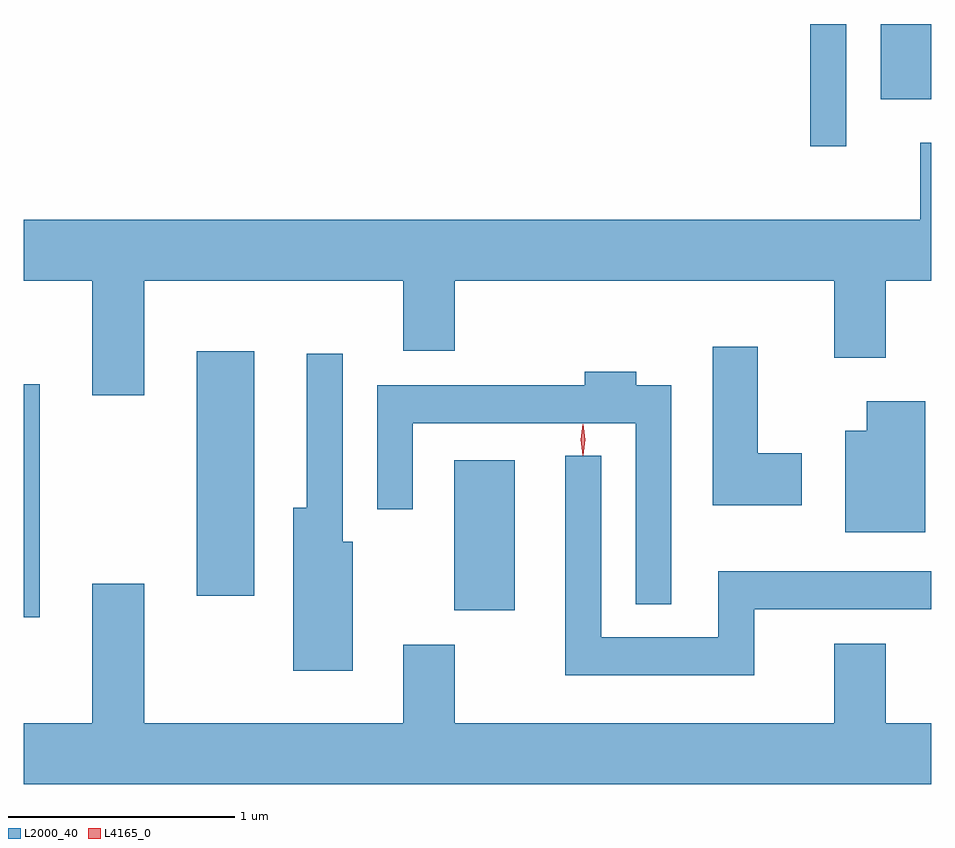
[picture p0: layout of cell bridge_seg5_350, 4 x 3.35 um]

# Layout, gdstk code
import gdstk
lib = gdstk.Library(unit=1e-6, precision=1e-09)
def R(c, l, rs):  # rectangles x0, y0, x1, y1
    for r in rs: c.add(gdstk.rectangle(r[:2], r[2:], *l))
def P(c, l, *ps):  # polygons
    for p in ps: c.add(gdstk.Polygon(p, *l))
L2000_40 = (2000, 40)
L4165_0 = (4165, 0)

bridge_seg5_350 = lib.new_cell('bridge_seg5_350')
R(bridge_seg5_350, L2000_40, [(540.079,1515.251,540.149,1516.279), (541.976,1515.281,542.244,1515.944), (540.841,1515.346,541.094,1516.424), (543.546,1517.328,543.704,1517.867), (543.856,1517.536,544.079,1517.867)])
P(bridge_seg5_350, L2000_40, [(540.609,1516.736),(541.751,1516.736),(541.751,1516.426),(541.979,1516.426),(541.979,1516.736),(543.651,1516.736),(543.651,1516.396),(543.879,1516.396),(543.879,1516.736),(544.079,1516.736),(544.079,1517.344),(544.031,1517.344),(544.031,1517.004),(540.079,1517.004),(540.079,1516.736),(540.381,1516.736),(540.381,1516.231),(540.609,1516.231)],
  [(543.509,1515.974),(543.314,1515.974),(543.314,1516.444),(543.116,1516.444),(543.116,1515.746),(543.509,1515.746)],
  [(541.529,1515.584),(541.484,1515.584),(541.484,1516.413),(541.326,1516.413),(541.326,1515.734),(541.266,1515.734),(541.266,1515.016),(541.529,1515.016)],
  [(542.934,1516.274),(542.779,1516.274),(542.779,1516.334),(542.551,1516.334),(542.551,1516.274),(541.636,1516.274),(541.636,1515.728),(541.794,1515.728),(541.794,1516.106),(542.776,1516.106),(542.776,1515.308),(542.934,1515.308)],
  [(544.054,1516.204),(543.796,1516.204),(543.796,1516.074),(543.701,1516.074),(543.701,1515.626),(544.054,1515.626)],
  [(543.299,1515.286),(544.079,1515.286),(544.079,1515.454),(543.141,1515.454),(543.141,1515.164),(542.624,1515.164),(542.624,1515.963),(542.466,1515.963),(542.466,1514.996),(543.299,1514.996)],
  [(544.079,1514.784),(543.879,1514.784),(543.879,1515.134),(543.651,1515.134),(543.651,1514.784),(541.979,1514.784),(541.979,1515.129),(541.751,1515.129),(541.751,1514.784),(540.609,1514.784),(540.609,1515.399),(540.381,1515.399),(540.381,1514.784),(540.079,1514.784),(540.079,1514.516),(544.079,1514.516)])
P(bridge_seg5_350, L4165_0, [(542.544,1515.967),(542.535,1516.034),(542.544,1516.1),(542.544,1516.1),(542.545,1516.1),(542.554,1516.034),(542.545,1515.967),(542.545,1515.967)],
  [(542.544,1515.964),(542.544,1515.964),(542.534,1516.033),(542.544,1516.102),(542.544,1516.103),(542.545,1516.102),(542.554,1516.033),(542.545,1515.964)])

lib.write_gds('bridge_seg5_350.gds')
